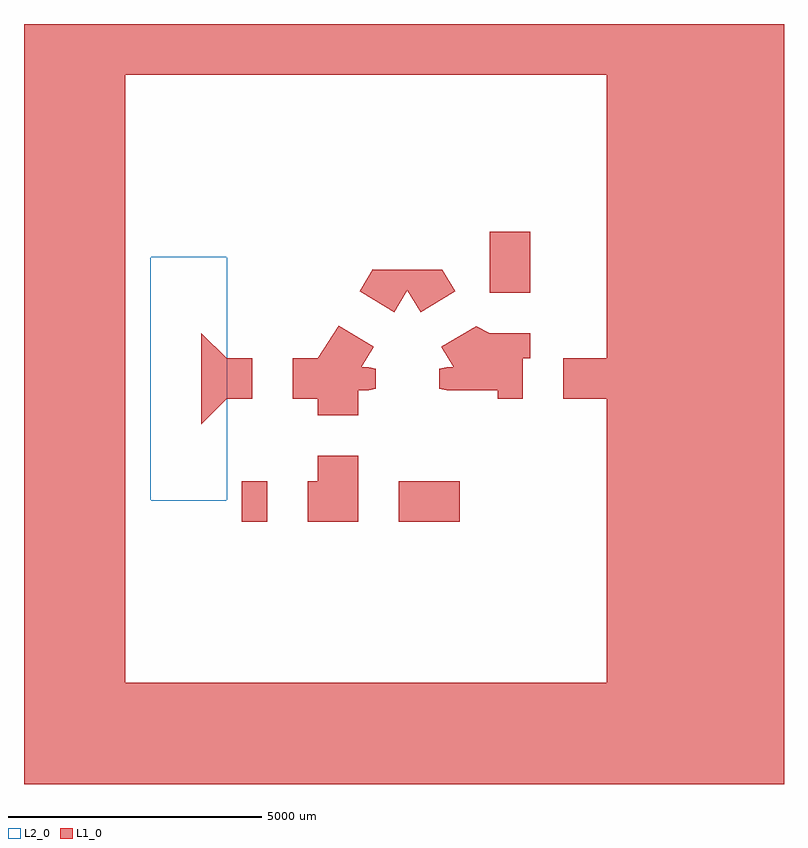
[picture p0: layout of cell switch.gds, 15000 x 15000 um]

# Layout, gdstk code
import gdstk
lib = gdstk.Library(unit=1e-6, precision=1e-09)
def R(c, l, rs):  # rectangles x0, y0, x1, y1
    for r in rs: c.add(gdstk.rectangle(r[:2], r[2:], *l))
def P(c, l, *ps):  # polygons
    for p in ps: c.add(gdstk.Polygon(p, *l))
L1_0 = (1, 0)
L2_0 = (2, 0)

switch_gds = lib.new_cell('switch.gds')
R(switch_gds, L1_0, [(-33701.4,-2825,-33201.4,-2025), (-30601.4,-2825,-30101.4,-2025), (-27354,-401,-26500,399), (-34000,-400,-33500,400), (-28803.6,1699,-28003.6,2196.2)])
P(switch_gds, L1_0, [(-34000,400),(-34500,900),(-34500,-900),(-34000,-400)],
  [(-29751.4,-2025),(-29751.4,-2125),(-29673.754,-2135.222),(-29601.4,-2165.192),(-29539.268,-2212.868),(-29491.592,-2275),(-29461.622,-2347.354),(-29451.4,-2425),(-29461.622,-2502.646),(-29491.592,-2575),(-29539.268,-2637.132),(-29601.4,-2684.808),(-29673.754,-2714.778),(-29751.4,-2725),(-29829.046,-2714.778),(-29901.4,-2684.808),(-29963.532,-2637.132),(-30011.208,-2575),(-30041.178,-2502.646),(-30051.4,-2425),(-30041.178,-2347.354),(-30011.208,-2275),(-29963.532,-2212.868),(-29901.4,-2165.192),(-29829.046,-2135.222),(-29751.4,-2125),(-29751.4,-2025),(-30101.4,-2025),(-30101.4,-2825),(-29401.4,-2825),(-29401.4,-2025)],
  [(-28403.6,2896.2),(-28403.6,2846.2),(-28325.954,2835.978),(-28253.6,2806.008),(-28191.468,2758.332),(-28143.792,2696.2),(-28113.822,2623.846),(-28103.6,2546.2),(-28113.822,2468.554),(-28143.792,2396.2),(-28191.468,2334.068),(-28253.6,2286.392),(-28325.954,2256.422),(-28403.6,2246.2),(-28481.246,2256.422),(-28553.6,2286.392),(-28615.732,2334.068),(-28663.408,2396.2),(-28693.378,2468.554),(-28703.6,2546.2),(-28693.378,2623.846),(-28663.408,2696.2),(-28615.732,2758.332),(-28553.6,2806.008),(-28481.246,2835.978),(-28403.6,2846.2),(-28403.6,2896.2),(-28803.6,2896.2),(-28803.6,2196.2),(-28003.6,2196.2),(-28003.6,2896.2)],
  [(-32700,-400),(-32201.4,-400),(-32201.4,-725),(-31401.4,-725),(-31401.4,-225),(-31199.1,-225),(-31055.8,-201),(-31055.8,199),(-31199.1,225),(-31340.297,225),(-31099.1,629.5),(-31785.2,1040.4),(-32200,400),(-32700,400)],
  [(-31401.4,-2825),(-31401.4,-1525),(-32201.4,-1525),(-32201.4,-2025),(-32401.4,-2025),(-32401.4,-2825)],
  [(-31374.3,1726.5),(-30688.2,1315.6),(-30433.239,1742.826),(-30174.2,1313),(-29488.2,1724),(-29745.6,2152),(-31117.6,2157)],
  [(-29805.8,-201),(-29655.8,-226),(-28654,-226),(-28654,-401),(-28154,-401),(-28154,399),(-28003.6,399),(-28003.6,899),(-28803.6,899),(-29077.2,1038),(-29763.2,627),(-29520.835,224),(-29655.8,224),(-29805.8,199)],
  [(-29451.4,-2425),(-29461.622,-2347.354),(-29491.592,-2275),(-29539.268,-2212.868),(-29601.4,-2165.192),(-29673.754,-2135.222),(-29751.4,-2125),(-29829.046,-2135.222),(-29901.4,-2165.192),(-29963.532,-2212.868),(-30011.208,-2275),(-30041.178,-2347.354),(-30051.4,-2425),(-30041.178,-2502.646),(-30011.208,-2575),(-29963.532,-2637.132),(-29901.4,-2684.808),(-29829.046,-2714.778),(-29751.4,-2725),(-29673.754,-2714.778),(-29601.4,-2684.808),(-29539.268,-2637.132),(-29491.592,-2575),(-29461.622,-2502.646)],
  [(-28103.6,2546.2),(-28113.822,2623.846),(-28143.792,2696.2),(-28191.468,2758.332),(-28253.6,2806.008),(-28325.954,2835.978),(-28403.6,2846.2),(-28481.246,2835.978),(-28553.6,2806.008),(-28615.732,2758.332),(-28663.408,2696.2),(-28693.378,2623.846),(-28703.6,2546.2),(-28693.378,2468.554),(-28663.408,2396.2),(-28615.732,2334.068),(-28553.6,2286.392),(-28481.246,2256.422),(-28403.6,2246.2),(-28325.954,2256.422),(-28253.6,2286.392),(-28191.468,2334.068),(-28143.792,2396.2),(-28113.822,2468.554)],
  [(-36000,7000),(-36000,6000),(-26500,6000),(-26500,-6000),(-36000,-6000),(-36000,6000),(-36000,7000),(-38000,7000),(-38000,-8000),(-23000,-8000),(-23000,7000)])
P(switch_gds, L2_0, [(-35500,7000),(-35500,2400),(-34000,2400),(-34000,-2400),(-35500,-2400),(-35500,2400),(-35500,7000),(-38000,7000),(-38000,-8000),(-23000,-8000),(-23000,7000)])

lib.write_gds('switch.gds.gds')
